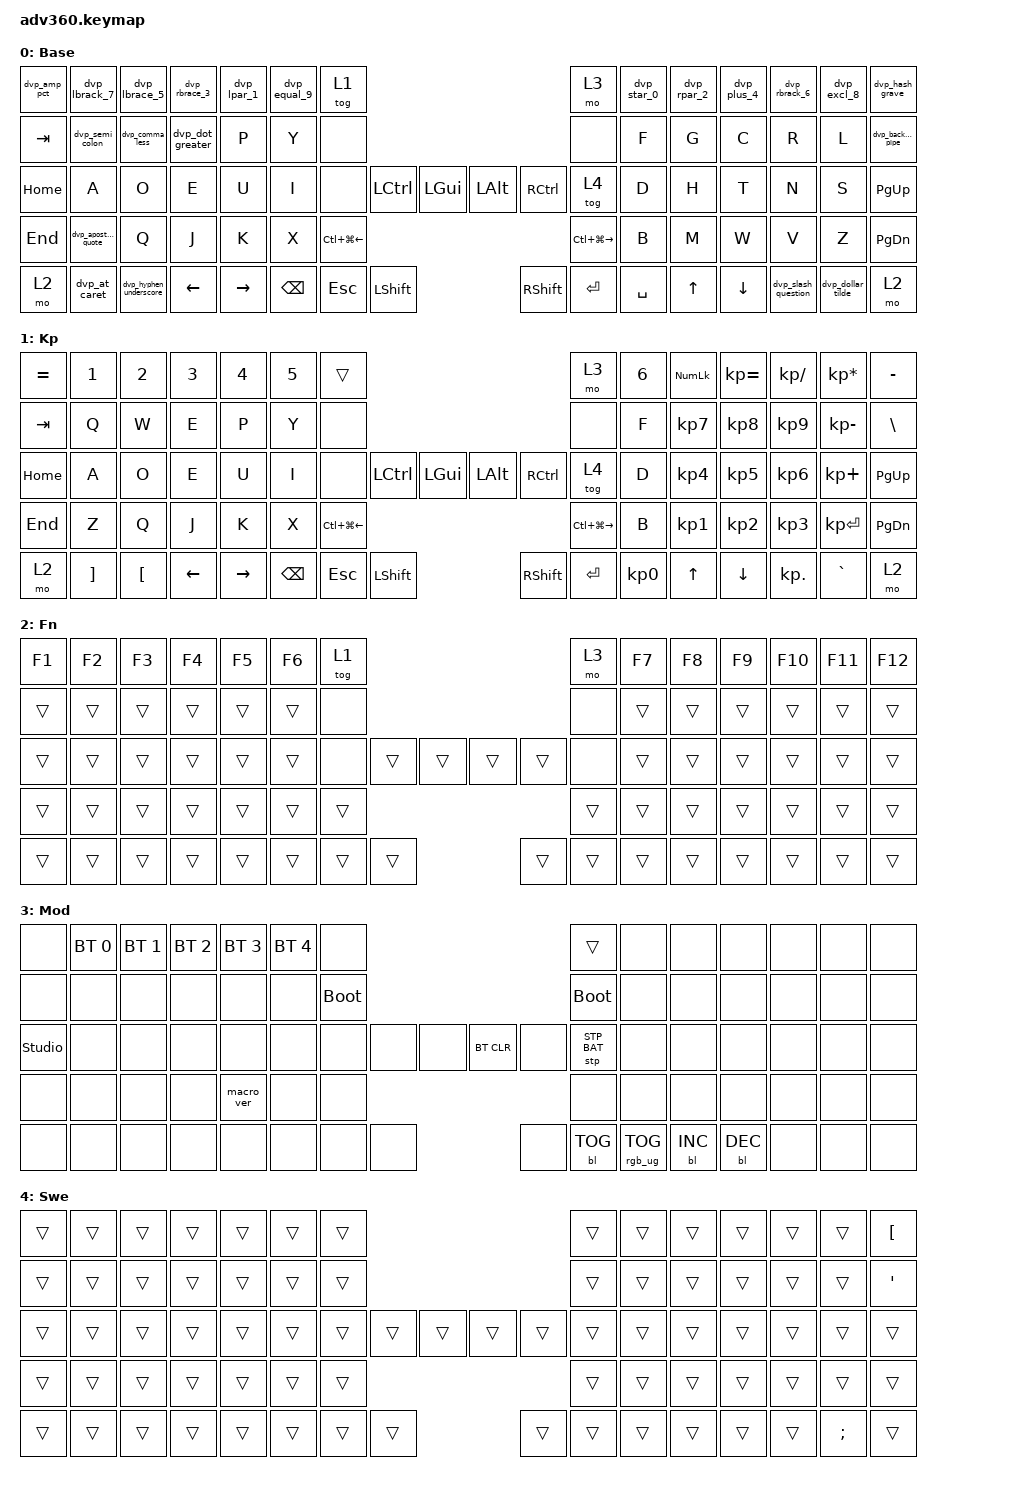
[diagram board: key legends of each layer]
#include <behaviors.dtsi>
#include <dt-bindings/zmk/keys.h>
#include <dt-bindings/zmk/bt.h>
#include <dt-bindings/zmk/rgb.h>
#include <dt-bindings/zmk/stp.h>
#include <dt-bindings/zmk/backlight.h>
#include <dt-bindings/zmk/pointing.h>

/ {
    behaviors {
      #include "macros.dtsi"
      #include "version.dtsi"

      hm: homerow_mods {
          compatible = "zmk,behavior-hold-tap";
          label = "HOMEROW_MODS";
          #binding-cells = <2>;
          tapping-term-ms = <200>;
          quick_tap_ms = <175>;
          flavor = "tap-preferred";
          bindings = <&kp>, <&kp>;
      };

      dvp_amp_pct: dvp_amp_pct {
          compatible = "zmk,behavior-mod-morph";
          #binding-cells = <0>;
          bindings = <&kp LS(N6)>, <&kp LS(N5)>;
          mods = <(MOD_LSFT|MOD_RSFT)>;
      };

      dvp_lbrack_7: dvp_lbrack_7 {
          compatible = "zmk,behavior-mod-morph";
          #binding-cells = <0>;
          bindings = <&kp RA(N8)>, <&kp N7>;
          mods = <(MOD_LSFT|MOD_RSFT)>;
      };

      dvp_lbrace_5: dvp_lbrace_5 {
          compatible = "zmk,behavior-mod-morph";
          #binding-cells = <0>;
          bindings = <&kp RA(N7)>, <&kp N5>;
          mods = <(MOD_LSFT|MOD_RSFT)>;
      };

      dvp_rbrace_3: dvp_rbrace_3 {
          compatible = "zmk,behavior-mod-morph";
          #binding-cells = <0>;
          bindings = <&kp RA(N0)>, <&kp N3>;
          mods = <(MOD_LSFT|MOD_RSFT)>;
      };

      dvp_lpar_1: dvp_lpar_1 {
          compatible = "zmk,behavior-mod-morph";
          #binding-cells = <0>;
          bindings = <&kp LS(N8)>, <&kp N1>;
          mods = <(MOD_LSFT|MOD_RSFT)>;
      };

      dvp_equal_9: dvp_equal_9 {
          compatible = "zmk,behavior-mod-morph";
          #binding-cells = <0>;
          bindings = <&kp LS(N0)>, <&kp N9>;
          mods = <(MOD_LSFT|MOD_RSFT)>;
      };

      dvp_star_0: dvp_star_0 {
          compatible = "zmk,behavior-mod-morph";
          #binding-cells = <0>;
          bindings = <&kp LS(BSLH)>, <&kp N0>;
          mods = <(MOD_LSFT|MOD_RSFT)>;
      };

      dvp_rpar_2: dvp_rpar_2 {
          compatible = "zmk,behavior-mod-morph";
          #binding-cells = <0>;
          bindings = <&kp LS(N9)>, <&kp N2>;
          mods = <(MOD_LSFT|MOD_RSFT)>;
      };

      dvp_plus_4: dvp_plus_4 {
          compatible = "zmk,behavior-mod-morph";
          #binding-cells = <0>;
          bindings = <&kp MINUS>, <&kp N4>;
          mods = <(MOD_LSFT|MOD_RSFT)>;
      };

      dvp_rbrack_6: dvp_rbrack_6 {
          compatible = "zmk,behavior-mod-morph";
          #binding-cells = <0>;
          bindings = <&kp RA(N9)>, <&kp N6>;
          mods = <(MOD_LSFT|MOD_RSFT)>;
      };

      dvp_excl_8: dvp_excl_8 {
          compatible = "zmk,behavior-mod-morph";
          #binding-cells = <0>;
          bindings = <&kp LS(N1)>, <&kp N8>;
          mods = <(MOD_LSFT|MOD_RSFT)>;
      };

      dvp_grave: dvp_grave {
          compatible = "zmk,behavior-macro";
          #binding-cells = <0>;
          wait-ms = <30>;
          tap-ms = <30>;
          bindings = <&kp LS(EQUAL)>, <&kp SPACE>;
      };

      dvp_hash_grave: dvp_hash_grave {
          compatible = "zmk,behavior-mod-morph";
          #binding-cells = <0>;
          bindings = <&kp LS(N3)>, <&dvp_grave>;
          mods = <(MOD_LSFT|MOD_RSFT)>;
      };

      dvp_slash_question: dvp_slash_question {
          compatible = "zmk,behavior-mod-morph";
          #binding-cells = <0>;
          bindings = <&kp LS(N7)>, <&kp LS(MINUS)>;
          mods = <(MOD_LSFT|MOD_RSFT)>;
      };

      dvp_tilde: dvp_tilde {
          compatible = "zmk,behavior-macro";
          #binding-cells = <0>;
          wait-ms = <30>;
          tap-ms = <30>;
          bindings = <&kp RA(RBKT)>, <&kp SPACE>;
      };

      dvp_dollar_tilde: dvp_dollar_tilde {
          compatible = "zmk,behavior-mod-morph";
          #binding-cells = <0>;
          bindings = <&kp RA(N4)>, <&dvp_tilde>;
          mods = <(MOD_LSFT|MOD_RSFT)>;
      };

      dvp_caret: dvp_caret {
          compatible = "zmk,behavior-macro";
          #binding-cells = <0>;
          wait-ms = <30>;
          tap-ms = <30>;
          bindings = <&kp LS(RBKT)>, <&kp SPACE>;
      };

      dvp_at_caret: dvp_at_caret {
          compatible = "zmk,behavior-mod-morph";
          #binding-cells = <0>;
          bindings = <&kp RA(N2)>, <&dvp_caret>;
          mods = <(MOD_LSFT|MOD_RSFT)>;
      };

      dvp_semi_colon: dvp_semi_colon {
          compatible = "zmk,behavior-mod-morph";
          #binding-cells = <0>;
          bindings = <&kp LS(COMMA)>, <&kp LS(DOT)>;
          mods = <(MOD_LSFT|MOD_RSFT)>;
      };

      dvp_comma_less: dvp_comma_less {
          compatible = "zmk,behavior-mod-morph";
          #binding-cells = <0>;
          bindings = <&kp COMMA>, <&kp NON_US_BACKSLASH>;
          mods = <(MOD_LSFT|MOD_RSFT)>;
      };

      dvp_dot_greater: dvp_dot_greater {
          compatible = "zmk,behavior-mod-morph";
          #binding-cells = <0>;
          bindings = <&kp DOT>, <&kp LS(NON_US_BACKSLASH)>;
          mods = <(MOD_LSFT|MOD_RSFT)>;
      };

      dvp_apostrophe_quote: dvp_apostrophe_quote {
          compatible = "zmk,behavior-mod-morph";
          #binding-cells = <0>;
          bindings = <&kp BSLH>, <&kp LS(N2)>;
          mods = <(MOD_LSFT|MOD_RSFT)>;
      };

      dvp_backslash_pipe: dvp_backslash_pipe {
          compatible = "zmk,behavior-mod-morph";
          #binding-cells = <0>;
          bindings = <&kp RA(MINUS)>, <&kp RA(NON_US_BACKSLASH)>;
          mods = <(MOD_LSFT|MOD_RSFT)>;
      };

      dvp_hyphen_underscore: dvp_hyphen_underscore {
          compatible = "zmk,behavior-mod-morph";
          #binding-cells = <0>;
          bindings = <&kp FSLH>, <&kp LS(FSLH)>;
          mods = <(MOD_LSFT|MOD_RSFT)>;
      };
    };

  keymap {
    compatible = "zmk,keymap";

    default_layer {
      display-name = "Base";
      bindings = <
        &dvp_amp_pct &dvp_lbrack_7 &dvp_lbrace_5 &dvp_rbrace_3 &dvp_lpar_1 &dvp_equal_9 &tog 1                                     &mo 3 &dvp_star_0 &dvp_rpar_2 &dvp_plus_4 &dvp_rbrack_6 &dvp_excl_8 &dvp_hash_grave
        &kp TAB   &dvp_semi_colon &dvp_comma_less &dvp_dot_greater &kp P &kp Y &none                                                &none &kp F  &kp G  &kp C     &kp R    &kp L    &dvp_backslash_pipe
        &kp HOME  &kp A     &kp O    &kp E    &kp U      &kp I  &none           &kp LCTRL &kp LGUI  &kp LALT  &kp RCTRL           &tog 4 &kp D  &kp H  &kp T     &kp N    &kp S    &kp PG_UP
        &kp END   &dvp_apostrophe_quote &kp Q &kp J &kp K &kp X                            &kp LC(LG(LEFT)) &kp LC(LG(RIGHT))             &kp B  &kp M  &kp W     &kp V    &kp Z    &kp PG_DN
        &mo 2     &dvp_at_caret &dvp_hyphen_underscore &kp LEFT &kp RIGHT    &kp BSPC &kp ESC   &kp LSHFT &kp RSHFT &kp ENTER &kp SPACE              &kp UP &kp DOWN  &dvp_slash_question &dvp_dollar_tilde &mo 2
      >;
    };
    keypad {
      display-name = "Kp";
      bindings = <
        &kp EQUAL &kp N1    &kp N2   &kp N3   &kp N4     &kp N5 &trans                                                           &mo 3 &kp N6 &kp KP_NUM &kp KP_EQUAL &kp KP_DIVIDE &kp KP_MULTIPLY &kp MINUS
        &kp TAB   &kp Q     &kp W    &kp E    &kp P      &kp Y  &none                                                            &none &kp F  &kp KP_N7  &kp KP_N8    &kp KP_N9     &kp KP_MINUS    &kp BSLH
        &kp HOME  &kp A     &kp O    &kp E    &kp U      &kp I  &none           &kp LCTRL &kp LGUI  &kp LALT  &kp RCTRL           &tog 4 &kp D  &kp KP_N4  &kp KP_N5    &kp KP_N6     &kp KP_PLUS     &kp PG_UP
        &kp END   &kp Z     &kp Q    &kp J    &kp K      &kp X                            &kp LC(LG(LEFT)) &kp LC(LG(RIGHT))             &kp B  &kp KP_N1  &kp KP_N2    &kp KP_N3     &kp KP_ENTER    &kp PG_DN
        &mo 2     &kp RBKT  &kp LBKT &kp LEFT &kp RIGHT                &kp BSPC &kp ESC   &kp LSHFT &kp RSHFT &kp ENTER &kp KP_N0              &kp UP     &kp DOWN     &kp KP_DOT    &kp GRAVE       &mo 2
      >;
    };
    fn {
      display-name = "Fn";
      bindings = <
        &kp F1 &kp F2 &kp F3 &kp F4 &kp F5 &kp F6 &tog 1                                           &mo 3 &kp F7 &kp F8 &kp F9 &kp F10 &kp F11 &kp F12
        &trans &trans &trans &trans &trans &trans  &none                                           &none &trans &trans &trans &trans  &trans  &trans
        &trans &trans &trans &trans &trans &trans  &none        &trans &trans &trans &trans        &none &trans &trans &trans &trans  &trans  &trans
        &trans &trans &trans &trans &trans &trans                      &trans &trans                     &trans &trans &trans &trans  &trans  &trans
        &trans &trans &trans &trans &trans               &trans &trans &trans &trans &trans &trans              &trans &trans &trans  &trans  &trans
      >;
    };
    mod {
      display-name = "Mod";
      bindings = <
        &none &bt BT_SEL 0 &bt BT_SEL 1 &bt BT_SEL 2 &bt BT_SEL 3 &bt BT_SEL 4 &none                                                                     &trans                 &none        &none        &none        &none &none &none
        &none &none        &none        &none        &none        &none        &bootloader                                                               &bootloader            &none        &none        &none        &none &none &none
        &studio_unlock &none        &none        &none        &none        &none        &none                   &none &none &bt BT_CLR &none                      &stp STP_BAT &none        &none        &none        &none &none &none
        &none &none        &none        &none        &macro_ver   &none                                      &none &none                                                        &none        &none        &none        &none &none &none
        &none &none        &none        &none        &none                                       &none &none &none &none      &bl BL_TOG &rgb_ug RGB_TOG                                     &bl BL_INC   &bl BL_DEC   &none &none &none
      >;
    };
    swedish_email {
      display-name = "Swe";
      bindings = <
        &trans &trans &trans &trans &trans &trans &trans                                          &trans &trans &trans &trans &trans &trans &kp LBKT
        &trans &trans &trans &trans &trans &trans &trans                                          &trans &trans &trans &trans &trans &trans &kp SQT
        &trans &trans &trans &trans &trans &trans &trans        &trans &trans &trans &trans       &trans &trans &trans &trans &trans &trans &trans
        &trans &trans &trans &trans &trans &trans                      &trans &trans                     &trans &trans &trans &trans &trans &trans
        &trans &trans &trans &trans &trans               &trans &trans &trans &trans &trans &trans              &trans &trans &trans &kp SEMI &trans
      >;
    };

    extra2 { 
      display-name = "Purple";    
      status = "reserved";
    };

    extra3 { 
      display-name = "Cyan";    
      status = "reserved";
    };

    extra4 { 
      display-name = "Yellow";    
      status = "reserved";
    };
  };
};
